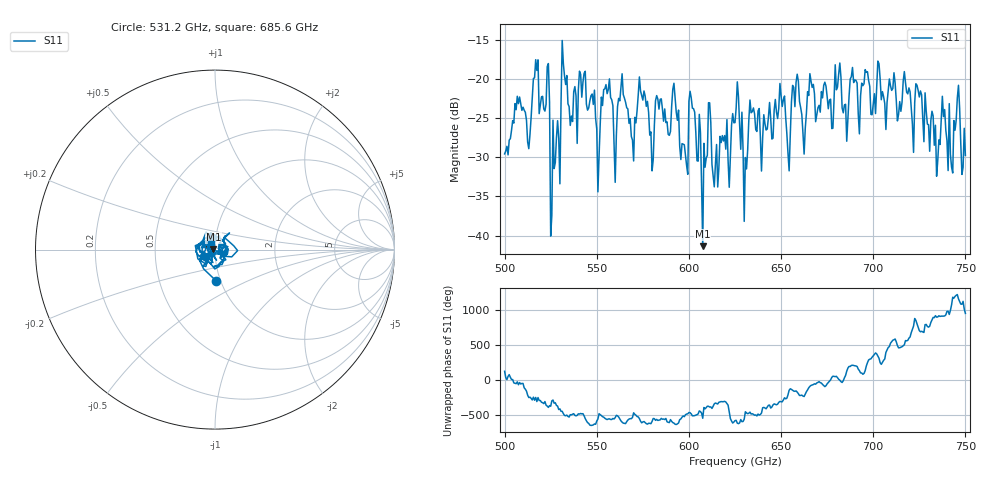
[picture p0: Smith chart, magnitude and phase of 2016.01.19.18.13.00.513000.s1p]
!Created with skrf (http://scikit-rf.org).
# GHz S RI R 50.0
!freq ReS11 ImS11
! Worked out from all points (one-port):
!   401 points, 500 GHz to 750 GHz, reference 50 ohm
!   lowest |S11| = -41.4 dB at 607.5 GHz (marker M1), VSWR 1.02, Z = 49.2 + j0.0973 ohm
!   |S11| at or under -10 dB: start of sweep to end of sweep
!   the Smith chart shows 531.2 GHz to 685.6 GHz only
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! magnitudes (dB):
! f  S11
! 500 GHz  -29.6
! 506.9 GHz  -22.2
! 513.1 GHz  -28.9
! 516.9 GHz  -17.6
! 523.1 GHz  -18.4
! 526.2 GHz  -25.3
! 531.2 GHz  -15.1
! 542.5 GHz  -20.4
! 550.6 GHz  -34.4
! 553.8 GHz  -21.4
! 560 GHz  -33.2
! 562.5 GHz  -22.8
! 574.4 GHz  -22.2
! 580 GHz  -31.7
! 583.1 GHz  -22.6
! 593.8 GHz  -25.3
! 598.1 GHz  -29.8
! 601.9 GHz  -23.7
! 607.5 GHz  -41.4
! 625 GHz  -25.6
! 630.6 GHz  -30.1
! 633.8 GHz  -24.3
! 650.6 GHz  -23.5
! 653.8 GHz  -29.5
! 656.2 GHz  -20.8
! 687.5 GHz  -20.0
! 718.8 GHz  -21.9
! 750 GHz  -29.8
